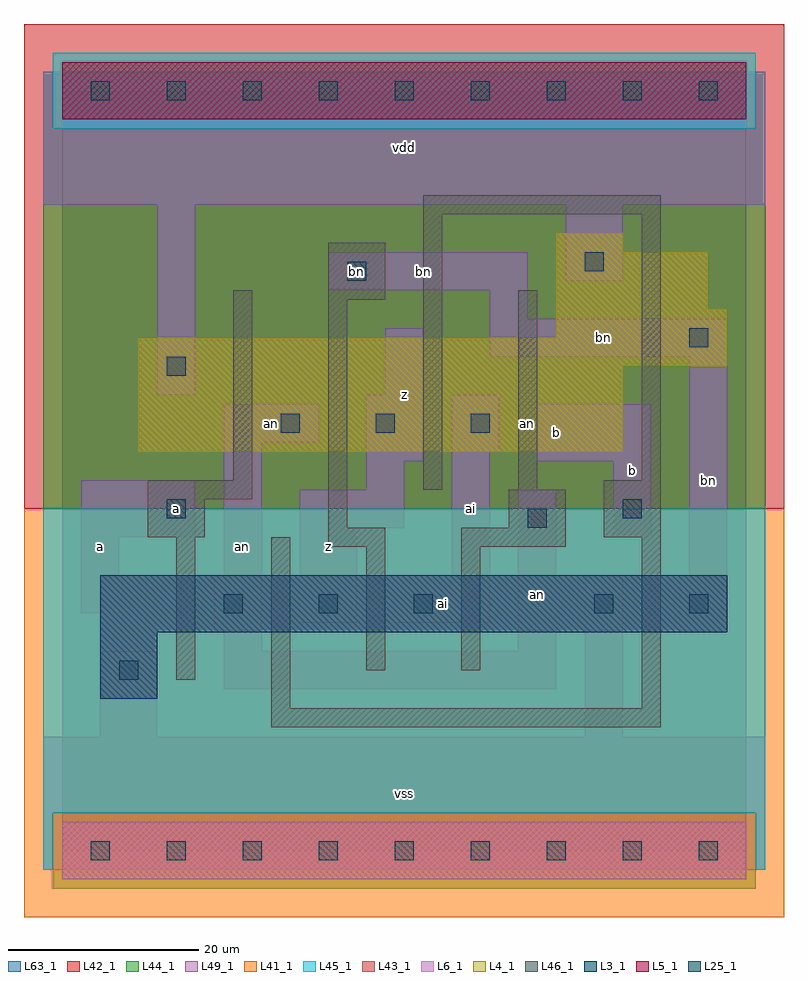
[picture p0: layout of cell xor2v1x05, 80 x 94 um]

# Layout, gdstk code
import gdstk
lib = gdstk.Library(unit=1e-6, precision=1e-09)
def R(c, l, rs):  # rectangles x0, y0, x1, y1
    for r in rs: c.add(gdstk.rectangle(r[:2], r[2:], *l))
def A(c, l, x, y, w, h, nx, ny, dx, dy):  # array of equal rectangles
    R(c, l, [(x+i*dx, y+j*dy, x+i*dx+w, y+j*dy+h) for i in range(nx) for j in range(ny)])
L3_1 = (3, 1)
L4_1 = (4, 1)
L5_1 = (5, 1)
L6_1 = (6, 1)
L25_1 = (25, 1)
L41_1 = (41, 1)
L42_1 = (42, 1)
L43_1 = (43, 1)
L44_1 = (44, 1)
L45_1 = (45, 1)
L46_1 = (46, 1)
L49_1 = (49, 1)
L63_1 = (63, 1)

xor2v1x05 = lib.new_cell('xor2v1x05')
R(xor2v1x05, L3_1, [(4,16,10,23), (4,23,70,29)])
R(xor2v1x05, L4_1, [(8,42,59,51), (8,51,70,54), (52,54,70,57), (52,57,68,63), (52,63,59,65)])
R(xor2v1x05, L5_1, [(0,77,72,83)])
R(xor2v1x05, L6_1, [(0,-3,72,3), (0,-3,72,3)])
A(xor2v1x05, L25_1, 3, -1, 2, 2, 9, 2, 8, 80)
A(xor2v1x05, L25_1, 17, 25, 2, 2, 3, 1, 10, 0)
A(xor2v1x05, L25_1, 23, 44, 2, 2, 3, 1, 10, 0)
R(xor2v1x05, L25_1, [(6,18,8,20), (56,25,58,27), (66,25,68,27), (49,34,51,36), (11,35,13,37), (59,35,61,37), (11,50,13,52), (66,53,68,55), (30,60,32,62), (55,61,57,63)])
R(xor2v1x05, L41_1, [(-4,-7,76,36)])
R(xor2v1x05, L42_1, [(-4,36,76,87)])
R(xor2v1x05, L43_1, [(0,-3,72,3), (4,16,10,23), (4,23,70,29), (8,42,59,51), (8,51,70,54), (52,54,70,57), (52,57,68,63), (52,63,59,65), (0,77,72,83)])
R(xor2v1x05, L44_1, [(-1,-4,73,4), (-2,36,74,76), (-2,76,-1,82), (73,76,74,82)])
R(xor2v1x05, L45_1, [(-2,-2,-1,4), (73,-2,74,4), (-2,4,74,36), (-1,76,73,84)])
R(xor2v1x05, L46_1, [(22,13,63,15), (22,15,24,33), (61,15,63,33), (12,18,14,33), (32,19,34,32), (42,19,44,32), (28,32,34,34), (42,32,53,34), (9,33,15,37), (57,33,63,39), (28,34,30,58), (47,34,53,38), (9,37,20,39), (38,38,40,67), (48,38,50,59), (18,39,20,59), (61,39,63,67), (28,58,34,64), (38,67,63,69)])
R(xor2v1x05, L49_1, [(-2,-2,74,12), (4,12,10,21), (55,12,59,29), (17,17,52,21), (17,21,21,23), (48,21,52,38), (16,23,21,29), (65,23,70,29), (25,24,31,34), (35,24,45,28), (2,25,6,33), (41,28,45,42), (17,29,21,43), (66,29,70,52), (2,33,14,39), (58,33,62,41), (25,34,36,38), (32,38,36,41), (32,41,38,48), (50,41,62,47), (41,42,46,48), (17,43,27,47), (10,48,14,68), (34,48,38,55), (45,52,70,56), (45,56,49,59), (28,59,49,63), (53,60,59,68), (-2,68,74,82)])
R(xor2v1x05, L63_1, [(0,0,72,80)])
xor2v1x05.add(gdstk.Label('bn', (31,61), layer=49, texttype=1))
xor2v1x05.add(gdstk.Label('an', (49,45), layer=46, texttype=1))
xor2v1x05.add(gdstk.Label('a', (4,32), layer=49, texttype=1))
xor2v1x05.add(gdstk.Label('an', (19,32), layer=49, texttype=1))
xor2v1x05.add(gdstk.Label('a', (12,36), layer=49, texttype=1))
xor2v1x05.add(gdstk.Label('an', (22,45), layer=49, texttype=1))
xor2v1x05.add(gdstk.Label('vss', (36,6), layer=49, texttype=1))
xor2v1x05.add(gdstk.Label('z', (28,32), layer=49, texttype=1))
xor2v1x05.add(gdstk.Label('z', (36,48), layer=49, texttype=1))
xor2v1x05.add(gdstk.Label('vdd', (36,74), layer=49, texttype=1))
xor2v1x05.add(gdstk.Label('ai', (40,26), layer=49, texttype=1))
xor2v1x05.add(gdstk.Label('an', (50,27), layer=49, texttype=1))
xor2v1x05.add(gdstk.Label('b', (52,44), layer=49, texttype=1))
xor2v1x05.add(gdstk.Label('ai', (43,36), layer=49, texttype=1))
xor2v1x05.add(gdstk.Label('bn', (38,61), layer=49, texttype=1))
xor2v1x05.add(gdstk.Label('b', (60,40), layer=49, texttype=1))
xor2v1x05.add(gdstk.Label('bn', (68,39), layer=49, texttype=1))
xor2v1x05.add(gdstk.Label('bn', (57,54), layer=49, texttype=1))

lib.write_gds('xor2v1x05.gds')
